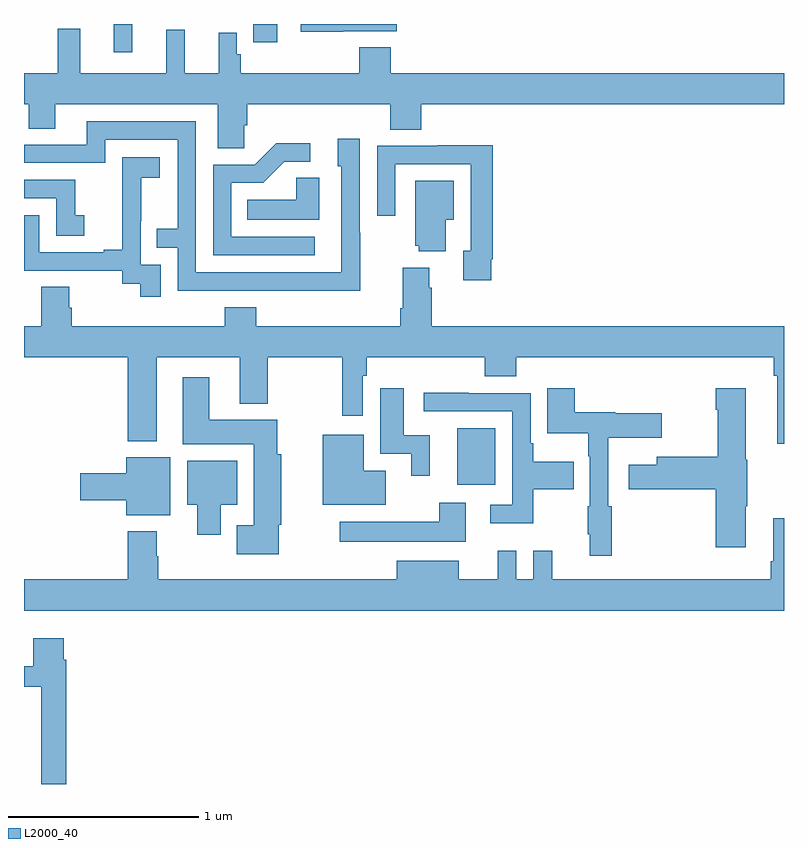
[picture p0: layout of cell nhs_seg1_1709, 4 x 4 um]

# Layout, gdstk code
import gdstk
lib = gdstk.Library(unit=1e-6, precision=1e-09)
def R(c, l, rs):  # rectangles x0, y0, x1, y1
    for r in rs: c.add(gdstk.rectangle(r[:2], r[2:], *l))
def P(c, l, *ps):  # polygons
    for p in ps: c.add(gdstk.Polygon(p, *l))
L2000_40 = (2000, 40)

nhs_seg1_1709 = lib.new_cell('nhs_seg1_1709')
R(nhs_seg1_1709, L2000_40, [(207.281,505.775,207.481,506.071), (205.472,508.05,205.569,508.199), (206.206,508.104,206.332,508.199)])
P(nhs_seg1_1709, L2000_40, [(206.681,508.161),(206.961,508.161),(206.961,508.199),(206.457,508.199),(206.457,508.159),(206.681,508.159)],
  [(206.16,507.667),(206.174,507.667),(206.174,507.776),(206.927,507.776),(206.927,507.643),(207.092,507.643),(207.092,507.776),(209,507.776),(209,507.94),(206.93,507.94),(206.93,508.076),(206.765,508.076),(206.765,507.94),(206.141,507.94),(206.141,508.041),(206.121,508.041),(206.121,508.153),(206.024,508.153),(206.024,507.94),(205.847,507.94),(205.847,508.168),(205.748,508.168),(205.748,507.94),(205.295,507.94),(205.295,508.174),(205.177,508.174),(205.177,507.94),(205,507.94),(205,507.776),(205.026,507.776),(205.026,507.649),(205.165,507.649),(205.165,507.776),(206.021,507.776),(206.021,507.544),(206.16,507.544)],
  [(206.769,507.101),(206.766,507.101),(206.766,507.595),(206.651,507.595),(206.651,507.45),(206.67,507.45),(206.67,506.892),(205.905,506.892),(205.905,507.687),(205.331,507.687),(205.331,507.564),(205,507.564),(205,507.468),(205.428,507.468),(205.428,507.591),(205.809,507.591),(205.809,507.122),(205.699,507.122),(205.699,507.021),(205.809,507.021),(205.809,506.796),(206.305,506.796),(206.305,506.795),(206.769,506.795)],
  [(206.53,507.078),(206.091,507.078),(206.091,507.363),(206.26,507.363),(206.371,507.474),(206.506,507.474),(206.506,507.572),(206.327,507.572),(206.214,507.459),(205.995,507.459),(205.995,506.982),(206.53,506.982)],
  [(207.46,506.962),(207.467,506.962),(207.467,507.56),(207.175,507.56),(207.175,507.558),(206.859,507.558),(206.859,507.189),(206.955,507.189),(206.955,507.462),(207.351,507.462),(207.351,507.006),(207.311,507.006),(207.311,506.85),(207.46,506.85)],
  [(205.719,506.931),(205.614,506.931),(205.614,507.161),(205.616,507.161),(205.616,507.389),(205.714,507.389),(205.714,507.499),(205.516,507.499),(205.516,507.293),(205.517,507.293),(205.517,507.01),(205.421,507.01),(205.421,506.997),(205.08,506.997),(205.08,507.192),(205,507.192),(205,506.901),(205.518,506.901),(205.518,506.833),(205.611,506.833),(205.611,506.763),(205.719,506.763)],
  [(206.554,507.389),(206.433,507.389),(206.433,507.274),(206.176,507.274),(206.176,507.17),(206.554,507.17)],
  [(205.318,507.193),(205.269,507.193),(205.269,507.378),(205,507.378),(205,507.282),(205.17,507.282),(205.17,507.084),(205.318,507.084)],
  [(207.22,507.17),(207.262,507.17),(207.262,507.373),(207.059,507.373),(207.059,507.033),(207.077,507.033),(207.077,507.002),(207.22,507.002)],
  [(209,506.608),(207.146,506.608),(207.146,506.81),(207.133,506.81),(207.133,506.917),(206.993,506.917),(206.993,506.704),(206.981,506.704),(206.981,506.608),(206.222,506.608),(206.222,506.707),(206.057,506.707),(206.057,506.608),(205.25,506.608),(205.25,506.706),(205.237,506.706),(205.237,506.816),(205.09,506.816),(205.09,506.608),(205,506.608),(205,506.444),(205.547,506.444),(205.547,506.003),(205.699,506.003),(205.699,506.444),(206.135,506.444),(206.135,506.201),(206.283,506.201),(206.283,506.444),(206.676,506.444),(206.676,506.136),(206.784,506.136),(206.784,506.348),(206.804,506.348),(206.804,506.444),(207.425,506.444),(207.425,506.345),(207.59,506.345),(207.59,506.444),(208.945,506.444),(208.945,506.348),(208.964,506.348),(208.964,505.989),(209,505.989)],
  [(206.34,505.563),(206.353,505.563),(206.353,505.935),(206.332,505.935),(206.332,506.116),(205.975,506.116),(205.975,506.341),(205.835,506.341),(205.835,505.988),(206.21,505.988),(206.21,505.561),(206.12,505.561),(206.12,505.409),(206.34,505.409)],
  [(207.136,506.034),(206.998,506.034),(206.998,506.281),(206.876,506.281),(206.876,505.938),(207.038,505.938),(207.038,505.821),(207.136,505.821)],
  [(208.094,505.661),(208.074,505.661),(208.074,506.021),(208.357,506.021),(208.357,506.151),(208.113,506.151),(208.113,506.155),(207.899,506.155),(207.899,506.281),(207.755,506.281),(207.755,506.045),(207.969,506.045),(207.969,505.925),(207.978,505.925),(207.978,505.661),(207.966,505.661),(207.966,505.513),(207.977,505.513),(207.977,505.401),(208.094,505.401)],
  [(208.798,505.661),(208.806,505.661),(208.806,505.905),(208.798,505.905),(208.798,506.281),(208.64,506.281),(208.64,506.168),(208.652,506.168),(208.652,505.922),(208.331,505.922),(208.331,505.879),(208.182,505.879),(208.182,505.75),(208.64,505.75),(208.64,505.446),(208.798,505.446)],
  [(207.679,505.75),(207.893,505.75),(207.893,505.896),(207.679,505.896),(207.679,505.993),(207.666,505.993),(207.666,506.256),(207.341,506.256),(207.341,506.258),(207.105,506.258),(207.105,506.16),(207.57,506.16),(207.57,505.668),(207.453,505.668),(207.453,505.571),(207.679,505.571)],
  [(206.905,505.849),(206.788,505.849),(206.788,506.038),(206.573,506.038),(206.573,505.67),(206.905,505.67)],
  [(205.771,505.918),(205.538,505.918),(205.538,505.835),(205.296,505.835),(205.296,505.693),(205.538,505.693),(205.538,505.613),(205.771,505.613)],
  [(206.035,505.67),(206.122,505.67),(206.122,505.9),(205.859,505.9),(205.859,505.67),(205.913,505.67),(205.913,505.512),(206.035,505.512)],
  [(207.325,505.678),(207.185,505.678),(207.185,505.579),(206.661,505.579),(206.661,505.475),(207.325,505.475)],
  [(209,505.597),(208.943,505.597),(208.943,505.372),(208.931,505.372),(208.931,505.276),(207.779,505.276),(207.779,505.426),(207.681,505.426),(207.681,505.276),(207.591,505.276),(207.591,505.426),(207.494,505.426),(207.494,505.276),(207.289,505.276),(207.289,505.375),(206.963,505.375),(206.963,505.276),(205.707,505.276),(205.707,505.397),(205.699,505.397),(205.699,505.528),(205.547,505.528),(205.547,505.276),(205,505.276),(205,505.112),(209,505.112)],
  [(205.223,504.854),(205.21,504.854),(205.21,504.967),(205.049,504.967),(205.049,504.82),(205,504.82),(205,504.711),(205.091,504.711),(205.091,504.199),(205.223,504.199)])

lib.write_gds('nhs_seg1_1709.gds')
